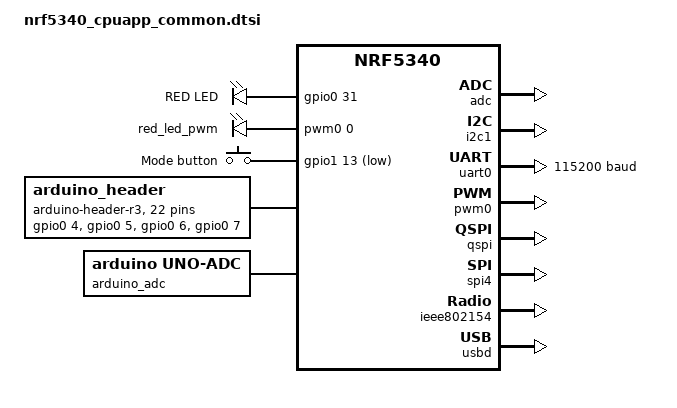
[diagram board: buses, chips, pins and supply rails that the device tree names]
/*
 * Copyright (c) 2024 Conexio Technologies, Inc
 *
 * SPDX-License-Identifier: Apache-2.0
 */
#include "nrf5340_cpuapp_common-pinctrl.dtsi"
#include <zephyr/dt-bindings/input/input-event-codes.h>

/ {

	chosen {
		zephyr,console = &uart0;
		zephyr,shell-uart = &uart0;
		zephyr,uart-mcumgr = &uart0;
		zephyr,bt-mon-uart = &uart0;
		zephyr,bt-c2h-uart = &uart0;
		zephyr,bt-hci-rpmsg-ipc = &ipc0;
		nordic,802154-spinel-ipc = &ipc0;
		zephyr,ieee802154 = &ieee802154;
	};

	leds {
		compatible = "gpio-leds";
		red_led: led_0 {
			gpios = <&gpio0 31 GPIO_ACTIVE_HIGH>;
			label = "RED LED";
		};
	};

	pwmleds {
		compatible = "pwm-leds";
		red_led_pwm: pwm_led_0 {
			pwms = <&pwm0 0 PWM_MSEC(20) PWM_POLARITY_INVERTED>;
		};
	};

	buttons {
		compatible = "gpio-keys";
		button0: button_0 {
			gpios = <&gpio1 13 (GPIO_PULL_UP | GPIO_ACTIVE_LOW)>;
			label = "Mode button";
		};
	};

	arduino_header: connector {
		compatible = "arduino-header-r3";
		#gpio-cells = <2>;
		gpio-map-mask = <0xffffffff 0xffffffc0>;
		gpio-map-pass-thru = <0 0x3f>;
		gpio-map = <0 0 &gpio0 4 0>,	/* A0 */
			   <1 0 &gpio0 5 0>,	/* A1 */
			   <2 0 &gpio0 6 0>,	/* A2 */
			   <3 0 &gpio0 7 0>,	/* A3 */
			   <4 0 &gpio0 25 0>,	/* A4 */
			   <5 0 &gpio0 26 0>,	/* A5 */
			   <6 0 &gpio1 0 0>,	/* D0 */
			   <7 0 &gpio1 1 0>,	/* D1 */
			   <8 0 &gpio1 4 0>,	/* D2 */
			   <9 0 &gpio1 5 0>,	/* D3 */
			   <10 0 &gpio1 6 0>,	/* D4 */
			   <11 0 &gpio1 7 0>,	/* D5 */
			   <12 0 &gpio1 8 0>,	/* D6 */
			   <13 0 &gpio1 9 0>,	/* D7 */
			   <14 0 &gpio1 10 0>,	/* D8 */
			   <15 0 &gpio1 11 0>,	/* D9 */
			   <16 0 &gpio1 12 0>,	/* D10 */
			   <17 0 &gpio1 13 0>,	/* D11 */
			   <18 0 &gpio1 14 0>,	/* D12 */
			   <19 0 &gpio1 15 0>,	/* D13 */
			   <20 0 &gpio1 2 0>,	/* D14 */
			   <21 0 &gpio1 3 0>;	/* D15 */
	};

	arduino_adc: analog-connector {
		compatible = "arduino,uno-adc";
		#io-channel-cells = <1>;
		io-channel-map = <0 &adc 0>,	/* A0 = P0.4 = AIN0 */
				 <1 &adc 1>,	/* A1 = P0.5 = AIN1 */
				 <2 &adc 2>,	/* A2 = P0.6 = AIN2 */
				 <3 &adc 3>,	/* A3 = P0.7 = AIN3 */
				 <4 &adc 4>,	/* A4 = P0.25 = AIN4 */
				 <5 &adc 5>;	/* A5 = P0.26 = AIN5 */
	};

	/* These aliases are provided for compatibility with samples */
	aliases {
		led0 = &red_led;
		pwm-led0 = &red_led_pwm;
		sw0 = &button0;
		bootloader-led0 = &red_led;
		mcuboot-button0 = &button0;
		mcuboot-led0 = &red_led;
		watchdog0 = &wdt0;
	};
};

&adc {
	status = "okay";
};

&gpiote {
	status = "okay";
};

&gpio0 {
	status = "okay";
};

&gpio1 {
	status = "okay";
};

&i2c1 {
	compatible = "nordic,nrf-twim";
	status = "okay";
	pinctrl-0 = <&i2c1_default>;
	pinctrl-1 = <&i2c1_sleep>;
	pinctrl-names = "default", "sleep";
};

&uart0 {
	status = "okay";
	current-speed = <115200>;
	pinctrl-0 = <&uart0_default>;
	pinctrl-1 = <&uart0_sleep>;
	pinctrl-names = "default", "sleep";
};

&pwm0 {
	status = "okay";
	pinctrl-0 = <&pwm0_default>;
	pinctrl-1 = <&pwm0_sleep>;
	pinctrl-names = "default", "sleep";
};

&qspi {
	status = "okay";
	pinctrl-0 = <&qspi_default>;
	pinctrl-1 = <&qspi_sleep>;
	pinctrl-names = "default", "sleep";
};

&spi4 {
	compatible = "nordic,nrf-spim";
	status = "okay";
	cs-gpios = <&gpio1 0 GPIO_ACTIVE_LOW>; /* D2 */
	pinctrl-0 = <&spi4_default>;
	pinctrl-1 = <&spi4_sleep>;
	pinctrl-names = "default", "sleep";
};

&flash0 {

	partitions {
		compatible = "fixed-partitions";
		#address-cells = <1>;
		#size-cells = <1>;

		boot_partition: partition@0 {
			label = "mcuboot";
			reg = <0x00000000 0x00010000>;
		};
		slot0_partition: partition@10000 {
			label = "image-0";
		};
		slot0_ns_partition: partition@50000 {
			label = "image-0-nonsecure";
		};
		slot1_partition: partition@80000 {
			label = "image-1";
		};
		slot1_ns_partition: partition@c0000 {
			label = "image-1-nonsecure";
		};
		/* 0xf0000 to 0xf7fff reserved for TF-M partitions */
		storage_partition: partition@f8000 {
			label = "storage";
			reg = <0x000f8000 0x00008000>;
		};
	};
};

&ieee802154 {
	status = "okay";
};

zephyr_udc0: &usbd {
	compatible = "nordic,nrf-usbd";
	status = "okay";
};

/ {

	reserved-memory {
		#address-cells = <1>;
		#size-cells = <1>;
		ranges;

		sram0_image: image@20000000 {
			/* Zephyr image(s) memory */
		};

		sram0_s: image_s@20000000 {
			/* Secure image memory */
		};

		sram0_ns: image_ns@20040000 {
			/* Non-Secure image memory */
		};
	};
};

/* Include partition configuration file */
#include "nrf5340_cpuapp_partition_conf.dtsi"
